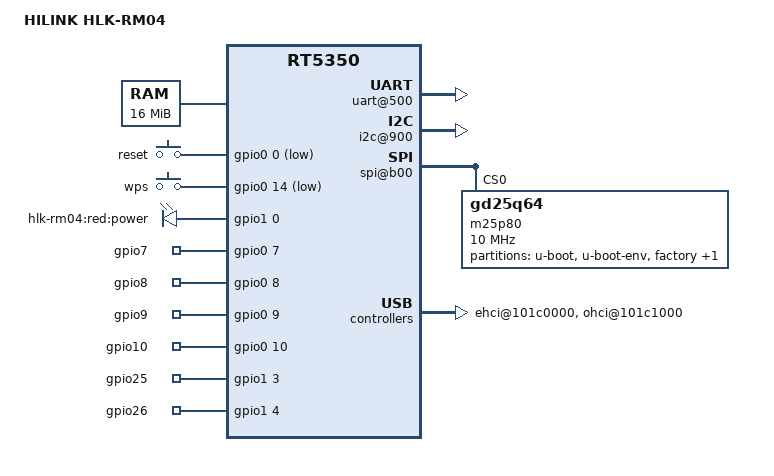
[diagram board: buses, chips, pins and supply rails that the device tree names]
/dts-v1/;

/include/ "rt5350.dtsi"

/ {
	compatible = "HLKRM04", "ralink,rt5350-soc";
	model = "HILINK HLK-RM04";

	memory@0 {
		device_type = "memory";
		reg = <0x0 0x1000000>;
	};

	chosen {
		bootargs = "console=ttyS1,57600";
	};

	palmbus@10000000 {

		uart@500 {
			status = "okay";
		};

		i2c@900 {
			status = "okay";
		};

		gpio1: gpio@660 {
			status = "okay";
		};

		spi@b00 {
			status = "okay";

			m25p80@0 {
				#address-cells = <1>;
				#size-cells = <1>;
				compatible = "gd25q64";
				reg = <0 0>;
				linux,modalias = "m25p80", "s25fl064k";
				spi-max-frequency = <10000000>;

				partition@0 {
					label = "u-boot";
					reg = <0x0 0x30000>;
					read-only;
				};

				partition@30000 {
					label = "u-boot-env";
					reg = <0x30000 0x10000>;
					read-only;
				};

				factory: partition@40000 {
					label = "factory";
					reg = <0x40000 0x10000>;
					read-only;
				};

				partition@50000 {
					label = "firmware";
					reg = <0x50000 0x3b0000>;
				};
			};
		};
	};

	pinctrl {
		state_default: pinctrl0 {
			gpio {
				ralink,group = "jtag", "uartf", "led";
				ralink,function = "gpio";
			};
		};
	};


	ethernet@10100000 {
		mtd-mac-address = <&factory 0x4>;
	};

	wmac@10180000 {
		ralink,mtd-eeprom = <&factory 0>;
	};

	ehci@101c0000 {
		status = "okay";
	};

	ohci@101c1000 {
		status = "okay";
	};

	gpio-keys-polled {
		compatible = "gpio-keys-polled";
		#address-cells = <1>;
		#size-cells = <0>;
		poll-interval = <20>;
		reset {
			label = "reset";
			gpios = <&gpio0 0 1>;
			linux,code = <0x198>;
		};
		wps {
			label = "wps";
			gpios = <&gpio0 14 1>;
			linux,code = <0x211>;
		};
	};

	gpio-leds {
		compatible = "gpio-leds";
		power {
			/* ETH0_LED (gpio22) */
			label = "hlk-rm04:red:power";
			gpios = <&gpio1 0 0>;
		};
	};

	gpio-export {
		compatible = "gpio-export";
		#size-cells = <0>;
		/* UARTF */
		gpio7 {
			/* UARTF_RTS_N */
			gpio-export,name = "gpio7";
			gpio-export,direction_may_change = <1>;
			gpios = <&gpio0 7 0>;
		};
		gpio8 {
			/* UARTF_TXD */
			gpio-export,name = "gpio8";
			gpio-export,direction_may_change = <1>;
			gpio-export,input = <1>;
			gpios = <&gpio0 8 0>;
		};
		gpio9 {
			/* UARTF_CTS_N */
			gpio-export,name = "gpio9";
			gpio-export,direction_may_change = <1>;
			gpio-export,output = <1>;
			gpios = <&gpio0 9 0>;
		};
		gpio10 {
			/* UARTF_RXD */
			gpio-export,name = "gpio10";
			gpio-export,direction_may_change = <1>;
			gpio-export,output = <1>;
			gpios = <&gpio0 10 0>;
		};
		/* ETH LEDs */
		gpio25 {
			/* ETH3_LED */
			gpio-export,name = "gpio25";
			gpio-export,direction_may_change = <1>;
			gpio-export,output = <1>;
			gpios = <&gpio1 3 0>;
		};
		gpio26 {
			/* ETH4_LED */
			gpio-export,name = "gpio26";
			gpio-export,direction_may_change = <1>;
			gpio-export,output = <1>;
			gpios = <&gpio1 4 0>;
		};
	};

};
